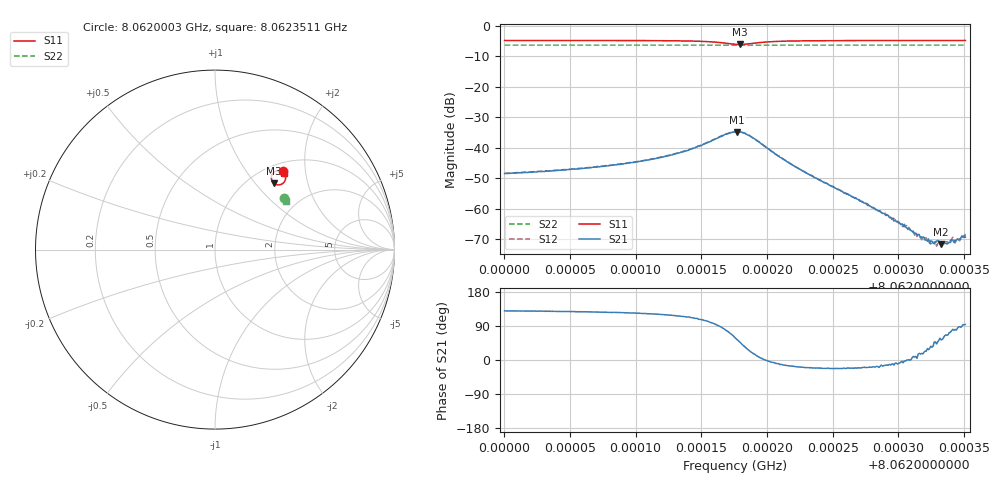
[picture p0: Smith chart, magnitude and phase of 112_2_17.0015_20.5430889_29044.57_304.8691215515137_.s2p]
#  HZ  S  RI  R  50.00
! Rohde & Schwarz Vector Network Analyzer
! Rohde-Schwarz,ZNB20-2Port,1311601062101988,3.16
! Created: UTC 3/20/2024, 10:57:05 PM
! freq[Hz]  re:S11  im:S11  re:S21  im:S21  re:S12  im:S12  re:S22  im:S22
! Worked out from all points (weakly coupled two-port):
!   401 points, 8.0620003 GHz to 8.0623511 GHz, reference 50 ohm
!   highest |S21| = -34.82 dB at 8.0621774 GHz (marker M1); lowest = -71.7 dB at 8.0623327 GHz (marker M2)
!   lowest |S11| = -6.1 dB at 8.0621792 GHz (marker M3), VSWR 2.96, Z = 64.1 + j62.8 ohm
!   |S11| at or under -10 dB: nowhere
!   |S22| runs from -6.4 to -6.3 dB; largest |S21 - S12| = 0.0014
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8.06200029e9  0.3764 0.4354  -0.00239 0.00288  -0.00223 0.00309  0.3869 0.2895
8.06205905e9  0.3821 0.4296  -0.00277 0.00363  -0.00259 0.00381  0.3889 0.2865
8.0621178e9  0.39 0.4172  -0.00348 0.00587  -0.00314 0.00613  0.3909 0.2832
8.06213885e9  0.3932 0.4057  -0.00357 0.00817  -0.00312 0.00848  0.3915 0.2818
8.06216077e9  0.3865 0.3778  -0.00104 0.0138  -7.41e-05 0.014  0.3915 0.2795
8.06217568e9  0.3416 0.3625  0.0094 0.0155  0.0103 0.015  0.3897 0.2792
8.06217743e9  0.3343 0.3656  0.0108 0.0146  0.0118 0.0139  0.3896 0.2793
8.06217919e9  0.3275 0.3704  0.0121 0.0134  0.0131 0.0126  0.3894 0.2794
8.06218884e9  0.3144 0.4077  0.0138 0.00467  0.0142 0.00388  0.3898 0.2808
8.06221164e9  0.3455 0.4395  0.00645 -0.00144  0.00642 -0.00182  0.3922 0.2807
8.06223444e9  0.3617 0.4396  0.00317 -0.00121  0.00317 -0.00142  0.3936 0.2794
8.06229319e9  0.3766 0.4338  0.000694 -0.00014  0.000717 -0.000234  0.3959 0.2762
8.06230284e9  0.3782 0.4329  0.000561 -3.48e-05  0.000502 -0.000117  0.3963 0.2756
8.06230722e9  0.3787 0.4324  0.000454 1.16e-06  0.000472 -5.27e-05  0.3965 0.2755
8.06231336e9  0.3795 0.432  0.000387 6.62e-05  0.000388 2.4e-05  0.3967 0.2751
8.06232213e9  0.3806 0.4314  0.00025 0.000146  0.000256 0.000156  0.3971 0.2747
8.06232564e9  0.3809 0.4311  0.000242 0.00016  0.000237 0.000141  0.3971 0.2745
8.06233266e9  0.3816 0.4307  0.000156 0.000209  0.000135 0.00022  0.3974 0.2741
8.06233704e9  0.3821 0.4301  0.000109 0.000237  0.000144 0.000245  0.3975 0.2738
8.06234055e9  0.3825 0.4298  6.68e-05 0.000294  9.34e-05 0.000299  0.3977 0.2737
8.06234493e9  0.3829 0.4296  3.93e-05 0.000316  4.07e-05 0.000314  0.3978 0.2735
8.06235107e9  0.3835 0.4291  -2.16e-05 0.000338  -1.49e-05 0.000382  0.398 0.273
